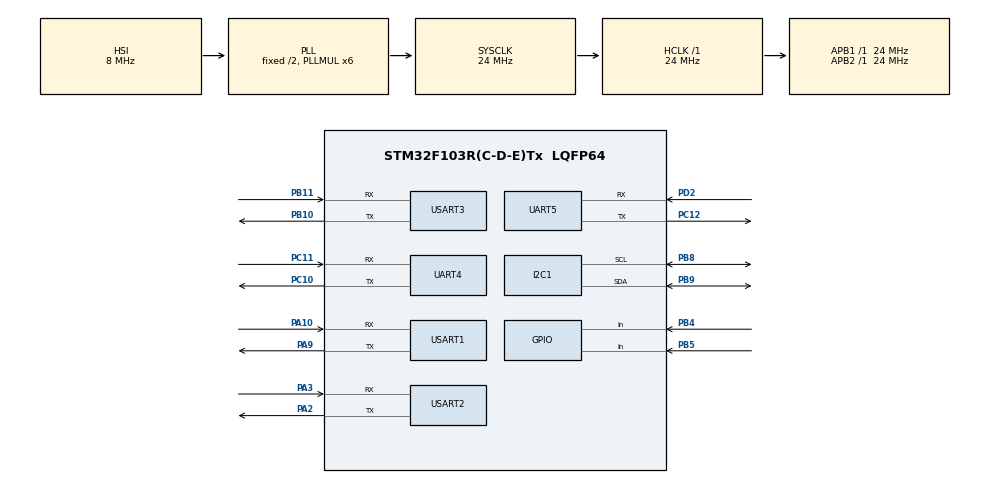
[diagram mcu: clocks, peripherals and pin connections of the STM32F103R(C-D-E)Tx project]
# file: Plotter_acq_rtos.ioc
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Mcu.Family=STM32F1
Dma.USART3_RX.6.Instance=DMA1_Channel3
NVIC.USART3_IRQn=true\:5\:0\:false\:false\:true\:true\:true\:true
Dma.UART4_TX.5.Instance=DMA2_Channel5
NVIC.DMA1_Channel5_IRQn=true\:5\:0\:false\:false\:true\:true\:false\:true
NVIC.I2C1_EV_IRQn=true\:5\:0\:false\:false\:true\:true\:true\:true
Dma.USART2_TX.0.PeriphDataAlignment=DMA_PDATAALIGN_BYTE
PB10.Mode=Asynchronous
Dma.USART1_TX.3.MemInc=DMA_MINC_ENABLE
Dma.USART1_TX.3.MemDataAlignment=DMA_MDATAALIGN_BYTE
Dma.UART4_TX.5.MemDataAlignment=DMA_MDATAALIGN_BYTE
Dma.USART3_TX.7.MemInc=DMA_MINC_ENABLE
PC12.Signal=UART5_TX
PC10.Signal=UART4_TX
Dma.USART1_RX.2.Instance=DMA1_Channel5
Dma.USART1_TX.3.Direction=DMA_MEMORY_TO_PERIPH
Dma.UART4_TX.5.PeriphInc=DMA_PINC_DISABLE
NVIC.TIM1_UP_IRQn=true\:0\:0\:false\:false\:true\:false\:false\:true
Dma.USART3_TX.7.Direction=DMA_MEMORY_TO_PERIPH
PB11.Signal=USART3_RX
Dma.USART2_RX.1.MemDataAlignment=DMA_MDATAALIGN_BYTE
RCC.SYSCLKSource=RCC_SYSCLKSOURCE_PLLCLK
ProjectManager.StackSize=0x400
VP_FREERTOS_VS_CMSIS_V2.Mode=CMSIS_V2
NVIC.UART5_IRQn=true\:5\:0\:false\:false\:true\:true\:true\:true
NVIC.DMA1_Channel3_IRQn=true\:5\:0\:false\:false\:true\:true\:false\:true
Dma.USART3_TX.7.MemDataAlignment=DMA_MDATAALIGN_BYTE
Dma.USART2_TX.0.Priority=DMA_PRIORITY_LOW
Mcu.UserConstants=GPSUART,1
FREERTOS.configUSE_STATS_FORMATTING_FUNCTIONS=1
RCC.HCLKFreq_Value=24000000
RCC.APB2TimFreq_Value=24000000
Dma.USART1_TX.3.Mode=DMA_NORMAL
Dma.USART2_RX.1.PeriphInc=DMA_PINC_DISABLE
Dma.UART4_TX.5.Priority=DMA_PRIORITY_LOW
Dma.USART2_RX.1.MemInc=DMA_MINC_ENABLE
RCC.AHBFreq_Value=24000000
RCC.PLLMUL=RCC_PLL_MUL6
Dma.UART4_TX.5.Direction=DMA_MEMORY_TO_PERIPH
Dma.USART3_RX.6.Direction=DMA_PERIPH_TO_MEMORY
PA14.Mode=Serial_Wire
Dma.USART3_TX.7.PeriphInc=DMA_PINC_DISABLE
VP_SYS_VS_tim1.Mode=TIM1
Dma.USART1_TX.3.PeriphInc=DMA_PINC_DISABLE
Dma.USART2_TX.0.MemDataAlignment=DMA_MDATAALIGN_BYTE
NVIC.DMA2_Channel3_IRQn=true\:5\:0\:false\:false\:true\:true\:false\:true
Dma.USART2_TX.0.Direction=DMA_MEMORY_TO_PERIPH
NVIC.I2C1_ER_IRQn=true\:5\:0\:false\:false\:true\:true\:true\:true
Dma.USART2_TX.0.Instance=DMA1_Channel7
FREERTOS.configTOTAL_HEAP_SIZE=18432
Dma.USART1_TX.3.Instance=DMA1_Channel4
Mcu.Package=LQFP64
PB9.Signal=I2C1_SDA
NVIC.TimeBase=TIM1_UP_IRQn
Dma.UART4_RX.4.PeriphInc=DMA_PINC_DISABLE
USART2.VirtualMode=VM_ASYNC
NVIC.TimeBaseIP=TIM1
PA10.Signal=USART1_RX
Dma.USART3_TX.7.Instance=DMA1_Channel2
PC11.Mode=Asynchronous
Dma.UART4_RX.4.Mode=DMA_CIRCULAR
Dma.USART2_TX.0.Mode=DMA_NORMAL
Dma.UART4_TX.5.PeriphDataAlignment=DMA_PDATAALIGN_BYTE
Dma.Request2=USART1_RX
Dma.Request1=USART2_RX
RCC.APB1TimFreq_Value=24000000
Dma.Request4=UART4_RX
FREERTOS.configGENERATE_RUN_TIME_STATS=1
Dma.Request3=USART1_TX
Dma.Request6=USART3_RX
Dma.Request5=UART4_TX
Dma.Request7=USART3_TX
NVIC.DMA2_Channel4_5_IRQn=true\:5\:0\:false\:false\:true\:true\:false\:true
NVIC.DMA1_Channel4_IRQn=true\:5\:0\:false\:false\:true\:true\:false\:true
Dma.USART2_RX.1.Mode=DMA_CIRCULAR
Dma.Request0=USART2_TX
Dma.USART1_RX.2.MemDataAlignment=DMA_MDATAALIGN_BYTE
PB4.Signal=GPIO_Input
PA3.Signal=USART2_RX
Dma.UART4_RX.4.PeriphDataAlignment=DMA_PDATAALIGN_BYTE
NVIC.DMA1_Channel6_IRQn=true\:5\:0\:false\:false\:true\:true\:false\:true
Dma.USART3_TX.7.Mode=DMA_NORMAL
Dma.USART2_RX.1.Priority=DMA_PRIORITY_VERY_HIGH
FREERTOS.Tasks01=defaultTask,24,256,StartDefaultTask,Default,NULL,Dynamic,NULL,NULL
Dma.USART2_TX.0.MemInc=DMA_MINC_ENABLE
PA10.Mode=Asynchronous
Dma.USART3_RX.6.MemDataAlignment=DMA_MDATAALIGN_BYTE
PC11.Signal=UART4_RX
PC10.Mode=Asynchronous
UART5.VirtualMode=Asynchronous
UART4.VirtualMode=Asynchronous
Dma.USART3_RX.6.PeriphInc=DMA_PINC_DISABLE
Dma.USART1_RX.2.PeriphInc=DMA_PINC_DISABLE
Dma.UART4_RX.4.MemInc=DMA_MINC_ENABLE
NVIC.USART2_IRQn=true\:5\:0\:false\:false\:true\:true\:true\:true
Dma.USART3_RX.6.MemInc=DMA_MINC_ENABLE
PA13.Signal=SYS_JTMS-SWDIO
PA3.Mode=Asynchronous
PA9.Mode=Asynchronous
PB11.Mode=Asynchronous
FREERTOS.configRECORD_STACK_HIGH_ADDRESS=1
NVIC.DMA1_Channel2_IRQn=true\:5\:0\:false\:false\:true\:true\:false\:true
ProjectManager.TargetToolchain=SW4STM32
Dma.UART4_RX.4.Instance=DMA2_Channel3
I2C1.I2C_Mode=I2C_Fast
Dma.USART1_RX.2.Mode=DMA_CIRCULAR
Dma.USART1_RX.2.PeriphDataAlignment=DMA_PDATAALIGN_BYTE
PB9.Mode=I2C
PA9.Signal=USART1_TX
Dma.USART1_TX.3.PeriphDataAlignment=DMA_PDATAALIGN_BYTE
RCC.USBFreq_Value=24000000
Dma.USART2_RX.1.Instance=DMA1_Channel6
PB10.Signal=USART3_TX
PD2.Mode=Asynchronous
Dma.USART2_RX.1.Direction=DMA_PERIPH_TO_MEMORY
Dma.USART2_RX.1.PeriphDataAlignment=DMA_PDATAALIGN_BYTE
PC12.Mode=Asynchronous
board=custom
Dma.USART1_RX.2.Priority=DMA_PRIORITY_VERY_HIGH
RCC.APB2Freq_Value=24000000
Dma.USART1_RX.2.Direction=DMA_PERIPH_TO_MEMORY
Dma.USART3_TX.7.PeriphDataAlignment=DMA_PDATAALIGN_BYTE
Dma.USART3_TX.7.Priority=DMA_PRIORITY_LOW
Dma.USART3_RX.6.Priority=DMA_PRIORITY_VERY_HIGH
Dma.USART3_RX.6.Mode=DMA_CIRCULAR
PA13.Mode=Serial_Wire
Mcu.Name=STM32F103R(C-D-E)Tx
Dma.USART1_RX.2.MemInc=DMA_MINC_ENABLE
Dma.UART4_TX.5.MemInc=DMA_MINC_ENABLE
PA2.Signal=USART2_TX
Dma.USART1_TX.3.Priority=DMA_PRIORITY_LOW
RCC.SYSCLKFreq_VALUE=24000000
PB5.Signal=GPIO_Input
Dma.USART2_TX.0.PeriphInc=DMA_PINC_DISABLE
USART3.VirtualMode=VM_ASYNC
Dma.UART4_RX.4.MemDataAlignment=DMA_MDATAALIGN_BYTE
USART1.VirtualMode=VM_ASYNC
PA14.Signal=SYS_JTCK-SWCLK
ProjectManager.HeapSize=0x200
Dma.UART4_RX.4.Priority=DMA_PRIORITY_VERY_HIGH
NVIC.PriorityGroup=NVIC_PRIORITYGROUP_4
PB8.Mode=I2C
Dma.UART4_RX.4.Direction=DMA_PERIPH_TO_MEMORY
PB8.Signal=I2C1_SCL
PA2.Mode=Asynchronous
NVIC.DMA1_Channel7_IRQn=true\:5\:0\:false\:false\:true\:true\:false\:true
PD2.Signal=UART5_RX
RCC.APB1Freq_Value=24000000
Dma.USART3_RX.6.PeriphDataAlignment=DMA_PDATAALIGN_BYTE
Dma.UART4_TX.5.Mode=DMA_NORMAL

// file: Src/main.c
/* USER CODE BEGIN Header */
/**
 ******************************************************************************
 * @file           : main.c
 * @brief          : Main program body
 ******************************************************************************
 * @attention
 *
 * <h2><center>&copy; Copyright (c) 2020 STMicroelectronics.
 * All rights reserved.</center></h2>
 *
 * This software component is licensed by ST under Ultimate Liberty license
 * SLA0044, the "License"; You may not use this file except in compliance with
 * the License. You may obtain a copy of the License at:
 *                             www.st.com/SLA0044
 *
 ******************************************************************************
 */
/* USER CODE END Header */

#include "main.h"
#include "cmsis_os.h"

/* USER CODE BEGIN Includes */
#include "stdio.h"

#include "Constants.h"
#include "allTasks.h"
#include "shared.h"
/* USER CODE END Includes */

I2C_HandleTypeDef hi2c1;

UART_HandleTypeDef huart4;
UART_HandleTypeDef huart5;
UART_HandleTypeDef huart1;
UART_HandleTypeDef huart2;
UART_HandleTypeDef huart3;
DMA_HandleTypeDef hdma_uart4_rx;
DMA_HandleTypeDef hdma_uart4_tx;
DMA_HandleTypeDef hdma_usart1_rx;
DMA_HandleTypeDef hdma_usart1_tx;
DMA_HandleTypeDef hdma_usart2_tx;
DMA_HandleTypeDef hdma_usart2_rx;
DMA_HandleTypeDef hdma_usart3_rx;
DMA_HandleTypeDef hdma_usart3_tx;

/* Definitions for defaultTask */
osThreadId_t defaultTaskHandle;
const osThreadAttr_t defaultTask_attributes = {
  .name = "defaultTask",
  .priority = (osPriority_t) osPriorityNormal,
  .stack_size = 256 * 4
};
/* USER CODE BEGIN PV */

osThreadId_t otherTaskHandle;
osMessageQueueId_t mainNmeaQueueHandle;
osMessageQueueId_t vhfNmeaQueueHandle;
osMessageQueueId_t pilotNmeaQueueHandle;
const osMessageQueueAttr_t mainNmeaQueue_attributes = {
		.name = "mainNmeaQueue"
};
const osMessageQueueAttr_t vhfNmeaQueue_attributes = {
		.name = "vhfNmeaQueue"
};
const osMessageQueueAttr_t pilotNmeaQueue_attributes = {
		.name = "pilotNmeaQueue"
};

//classic attribute for uartParser

/* USER CODE END PV */

void SystemClock_Config(void);
static void MX_GPIO_Init(void);
static void MX_DMA_Init(void);
static void MX_I2C1_Init(void);
static void MX_UART4_Init(void);
static void MX_UART5_Init(void);
static void MX_USART1_UART_Init(void);
static void MX_USART2_UART_Init(void);
static void MX_USART3_UART_Init(void);
void StartDefaultTask(void *argument);

/* USER CODE BEGIN 0 */
int __io_putchar(int ch)
{
	HAL_UART_Transmit(&huart5, (uint8_t *)&ch, 1, 0xFFFF);
	return ch;
}

/* USER CODE END 0 */

int main(void)
{

  /* MCU Configuration--------------------------------------------------------*/

  /* Reset of all peripherals, Initializes the Flash interface and the Systick. */
  HAL_Init();

  /* Configure the system clock */
  SystemClock_Config();

  /* Initialize all configured peripherals */
  MX_GPIO_Init();
  MX_DMA_Init();
  MX_I2C1_Init();
  MX_UART4_Init();
  MX_UART5_Init();
  MX_USART1_UART_Init();
  MX_USART2_UART_Init();
  MX_USART3_UART_Init();
  /* USER CODE BEGIN 2 */

	printf("Initializing freeRtos and freeRtos's objects...\r\n");

  /* USER CODE END 2 */

  /* Init scheduler */
  osKernelInitialize();

  /* USER CODE BEGIN RTOS_QUEUES */

	/* creation of mainNmeaQueue */
	mainNmeaQueueHandle = osMessageQueueNew (16, sizeof(NMEA_PAQUET), &mainNmeaQueue_attributes);
	vhfNmeaQueueHandle = osMessageQueueNew (8, sizeof(NMEA_PAQUET), &vhfNmeaQueue_attributes);
	pilotNmeaQueueHandle = osMessageQueueNew (8, sizeof(NMEA_PAQUET), &pilotNmeaQueue_attributes);

  /* USER CODE END RTOS_QUEUES */

  /* Create the thread(s) */
  /* creation of defaultTask */
  defaultTaskHandle = osThreadNew(StartDefaultTask, NULL, &defaultTask_attributes);

  /* USER CODE BEGIN RTOS_THREADS */
	/* add threads, ... */

	initVHFTask();
	initGPSTask();
	initWITask();
	initPilotTask();

  /* USER CODE END RTOS_THREADS */

  /* Start scheduler */
  osKernelStart();

  /* We should never get here as control is now taken by the scheduler */
  /* Infinite loop */
	while (1)
	{

	}
}

void SystemClock_Config(void)
{
  RCC_OscInitTypeDef RCC_OscInitStruct = {0};
  RCC_ClkInitTypeDef RCC_ClkInitStruct = {0};

  /** Initializes the CPU, AHB and APB busses clocks
  */
  RCC_OscInitStruct.OscillatorType = RCC_OSCILLATORTYPE_HSI;
  RCC_OscInitStruct.HSIState = RCC_HSI_ON;
  RCC_OscInitStruct.HSICalibrationValue = RCC_HSICALIBRATION_DEFAULT;
  RCC_OscInitStruct.PLL.PLLState = RCC_PLL_ON;
  RCC_OscInitStruct.PLL.PLLSource = RCC_PLLSOURCE_HSI_DIV2;
  RCC_OscInitStruct.PLL.PLLMUL = RCC_PLL_MUL6;
  if (HAL_RCC_OscConfig(&RCC_OscInitStruct) != HAL_OK)
  {
    Error_Handler();
  }
  /** Initializes the CPU, AHB and APB busses clocks
  */
  RCC_ClkInitStruct.ClockType = RCC_CLOCKTYPE_HCLK|RCC_CLOCKTYPE_SYSCLK
                              |RCC_CLOCKTYPE_PCLK1|RCC_CLOCKTYPE_PCLK2;
  RCC_ClkInitStruct.SYSCLKSource = RCC_SYSCLKSOURCE_PLLCLK;
  RCC_ClkInitStruct.AHBCLKDivider = RCC_SYSCLK_DIV1;
  RCC_ClkInitStruct.APB1CLKDivider = RCC_HCLK_DIV1;
  RCC_ClkInitStruct.APB2CLKDivider = RCC_HCLK_DIV1;

  if (HAL_RCC_ClockConfig(&RCC_ClkInitStruct, FLASH_LATENCY_0) != HAL_OK)
  {
    Error_Handler();
  }
}

static void MX_I2C1_Init(void)
{

  hi2c1.Instance = I2C1;
  hi2c1.Init.ClockSpeed = 100000;
  hi2c1.Init.DutyCycle = I2C_DUTYCYCLE_2;
  hi2c1.Init.OwnAddress1 = 0;
  hi2c1.Init.AddressingMode = I2C_ADDRESSINGMODE_7BIT;
  hi2c1.Init.DualAddressMode = I2C_DUALADDRESS_DISABLE;
  hi2c1.Init.OwnAddress2 = 0;
  hi2c1.Init.GeneralCallMode = I2C_GENERALCALL_DISABLE;
  hi2c1.Init.NoStretchMode = I2C_NOSTRETCH_DISABLE;
  if (HAL_I2C_Init(&hi2c1) != HAL_OK)
  {
    Error_Handler();
  }

}

static void MX_UART4_Init(void)
{

  huart4.Instance = UART4;
  huart4.Init.BaudRate = 115200;
  huart4.Init.WordLength = UART_WORDLENGTH_8B;
  huart4.Init.StopBits = UART_STOPBITS_1;
  huart4.Init.Parity = UART_PARITY_NONE;
  huart4.Init.Mode = UART_MODE_TX_RX;
  huart4.Init.HwFlowCtl = UART_HWCONTROL_NONE;
  huart4.Init.OverSampling = UART_OVERSAMPLING_16;
  if (HAL_UART_Init(&huart4) != HAL_OK)
  {
    Error_Handler();
  }

}

static void MX_UART5_Init(void)
{

  huart5.Instance = UART5;
  huart5.Init.BaudRate = 115200;
  huart5.Init.WordLength = UART_WORDLENGTH_8B;
  huart5.Init.StopBits = UART_STOPBITS_1;
  huart5.Init.Parity = UART_PARITY_NONE;
  huart5.Init.Mode = UART_MODE_TX_RX;
  huart5.Init.HwFlowCtl = UART_HWCONTROL_NONE;
  huart5.Init.OverSampling = UART_OVERSAMPLING_16;
  if (HAL_UART_Init(&huart5) != HAL_OK)
  {
    Error_Handler();
  }

}

static void MX_USART1_UART_Init(void)
{

  huart1.Instance = USART1;
  huart1.Init.BaudRate = 38400;
  huart1.Init.WordLength = UART_WORDLENGTH_8B;
  huart1.Init.StopBits = UART_STOPBITS_1;
  huart1.Init.Parity = UART_PARITY_NONE;
  huart1.Init.Mode = UART_MODE_TX_RX;
  huart1.Init.HwFlowCtl = UART_HWCONTROL_NONE;
  huart1.Init.OverSampling = UART_OVERSAMPLING_16;
  if (HAL_UART_Init(&huart1) != HAL_OK)
  {
    Error_Handler();
  }

}

static void MX_USART2_UART_Init(void)
{

  huart2.Instance = USART2;
  huart2.Init.BaudRate = 38400;
  huart2.Init.WordLength = UART_WORDLENGTH_8B;
  huart2.Init.StopBits = UART_STOPBITS_1;
  huart2.Init.Parity = UART_PARITY_NONE;
  huart2.Init.Mode = UART_MODE_TX_RX;
  huart2.Init.HwFlowCtl = UART_HWCONTROL_NONE;
  huart2.Init.OverSampling = UART_OVERSAMPLING_16;
  if (HAL_UART_Init(&huart2) != HAL_OK)
  {
    Error_Handler();
  }

}

static void MX_USART3_UART_Init(void)
{

  huart3.Instance = USART3;
  huart3.Init.BaudRate = 115200;
  huart3.Init.WordLength = UART_WORDLENGTH_8B;
  huart3.Init.StopBits = UART_STOPBITS_1;
  huart3.Init.Parity = UART_PARITY_NONE;
  huart3.Init.Mode = UART_MODE_TX_RX;
  huart3.Init.HwFlowCtl = UART_HWCONTROL_NONE;
  huart3.Init.OverSampling = UART_OVERSAMPLING_16;
  if (HAL_UART_Init(&huart3) != HAL_OK)
  {
    Error_Handler();
  }

}

static void MX_DMA_Init(void)
{

  /* DMA controller clock enable */
  __HAL_RCC_DMA1_CLK_ENABLE();
  __HAL_RCC_DMA2_CLK_ENABLE();

  /* DMA interrupt init */
  /* DMA1_Channel2_IRQn interrupt configuration */
  HAL_NVIC_SetPriority(DMA1_Channel2_IRQn, 5, 0);
  HAL_NVIC_EnableIRQ(DMA1_Channel2_IRQn);
  /* DMA1_Channel3_IRQn interrupt configuration */
  HAL_NVIC_SetPriority(DMA1_Channel3_IRQn, 5, 0);
  HAL_NVIC_EnableIRQ(DMA1_Channel3_IRQn);
  /* DMA1_Channel4_IRQn interrupt configuration */
  HAL_NVIC_SetPriority(DMA1_Channel4_IRQn, 5, 0);
  HAL_NVIC_EnableIRQ(DMA1_Channel4_IRQn);
  /* DMA1_Channel5_IRQn interrupt configuration */
  HAL_NVIC_SetPriority(DMA1_Channel5_IRQn, 5, 0);
  HAL_NVIC_EnableIRQ(DMA1_Channel5_IRQn);
  /* DMA1_Channel6_IRQn interrupt configuration */
  HAL_NVIC_SetPriority(DMA1_Channel6_IRQn, 5, 0);
  HAL_NVIC_EnableIRQ(DMA1_Channel6_IRQn);
  /* DMA1_Channel7_IRQn interrupt configuration */
  HAL_NVIC_SetPriority(DMA1_Channel7_IRQn, 5, 0);
  HAL_NVIC_EnableIRQ(DMA1_Channel7_IRQn);
  /* DMA2_Channel3_IRQn interrupt configuration */
  HAL_NVIC_SetPriority(DMA2_Channel3_IRQn, 5, 0);
  HAL_NVIC_EnableIRQ(DMA2_Channel3_IRQn);
  /* DMA2_Channel4_5_IRQn interrupt configuration */
  HAL_NVIC_SetPriority(DMA2_Channel4_5_IRQn, 5, 0);
  HAL_NVIC_EnableIRQ(DMA2_Channel4_5_IRQn);

}

static void MX_GPIO_Init(void)
{
  GPIO_InitTypeDef GPIO_InitStruct = {0};

  /* GPIO Ports Clock Enable */
  __HAL_RCC_GPIOC_CLK_ENABLE();
  __HAL_RCC_GPIOD_CLK_ENABLE();
  __HAL_RCC_GPIOA_CLK_ENABLE();
  __HAL_RCC_GPIOB_CLK_ENABLE();

  /*Configure GPIO pins : PC13 PC14 PC15 PC0
                           PC1 PC2 PC3 PC4
                           PC5 PC6 PC7 PC8
                           PC9 */
  GPIO_InitStruct.Pin = GPIO_PIN_13|GPIO_PIN_14|GPIO_PIN_15|GPIO_PIN_0
                          |GPIO_PIN_1|GPIO_PIN_2|GPIO_PIN_3|GPIO_PIN_4
                          |GPIO_PIN_5|GPIO_PIN_6|GPIO_PIN_7|GPIO_PIN_8
                          |GPIO_PIN_9;
  GPIO_InitStruct.Mode = GPIO_MODE_ANALOG;
  HAL_GPIO_Init(GPIOC, &GPIO_InitStruct);

  /*Configure GPIO pins : PD0 PD1 */
  GPIO_InitStruct.Pin = GPIO_PIN_0|GPIO_PIN_1;
  GPIO_InitStruct.Mode = GPIO_MODE_ANALOG;
  HAL_GPIO_Init(GPIOD, &GPIO_InitStruct);

  /*Configure GPIO pins : PA0 PA1 PA4 PA5
                           PA6 PA7 PA8 PA11
                           PA12 PA15 */
  GPIO_InitStruct.Pin = GPIO_PIN_0|GPIO_PIN_1|GPIO_PIN_4|GPIO_PIN_5
                          |GPIO_PIN_6|GPIO_PIN_7|GPIO_PIN_8|GPIO_PIN_11
                          |GPIO_PIN_12|GPIO_PIN_15;
  GPIO_InitStruct.Mode = GPIO_MODE_ANALOG;
  HAL_GPIO_Init(GPIOA, &GPIO_InitStruct);

  /*Configure GPIO pins : PB0 PB1 PB2 PB12
                           PB13 PB14 PB15 PB3
                           PB8 PB9 */
  GPIO_InitStruct.Pin = GPIO_PIN_0|GPIO_PIN_1|GPIO_PIN_2|GPIO_PIN_12
                          |GPIO_PIN_13|GPIO_PIN_14|GPIO_PIN_15|GPIO_PIN_3
                          |GPIO_PIN_8|GPIO_PIN_9;
  GPIO_InitStruct.Mode = GPIO_MODE_ANALOG;
  HAL_GPIO_Init(GPIOB, &GPIO_InitStruct);

  /*Configure GPIO pins : PB4 PB5 */
  GPIO_InitStruct.Pin = GPIO_PIN_4|GPIO_PIN_5;
  GPIO_InitStruct.Mode = GPIO_MODE_INPUT;
  GPIO_InitStruct.Pull = GPIO_NOPULL;
  HAL_GPIO_Init(GPIOB, &GPIO_InitStruct);

  /*Configure peripheral I/O remapping */
  __HAL_AFIO_REMAP_PD01_ENABLE();

}

/* USER CODE BEGIN 4 */
void HAL_UART_RxCpltCallback(UART_HandleTypeDef *huart){
	//HAL_UART_Receive_IT(huart,rx_buff,10);
	__NOP();
}
/* USER CODE END 4 */

void StartDefaultTask(void *argument)
{
  /* USER CODE BEGIN 5 */
	printf("Kernel initialized.\r\n");
	NMEA_PAQUET paquet;

	/* Infinite loop */
	for(;;)
	{
		if(osMessageQueueGet(mainNmeaQueueHandle,&paquet,NULL,2)==osOK){
			printf("%s",paquet.msg);

		}

		osDelay(20);
	}

  /* USER CODE END 5 */
}

 /**
  * @brief  Period elapsed callback in non blocking mode
  * @note   This function is called  when TIM1 interrupt took place, inside
  * HAL_TIM_IRQHandler(). It makes a direct call to HAL_IncTick() to increment
  * a global variable "uwTick" used as application time base.
  * @param  htim : TIM handle
  * @retval None
  */
void HAL_TIM_PeriodElapsedCallback(TIM_HandleTypeDef *htim)
{
  if (htim->Instance == TIM1) {
    HAL_IncTick();
  }
}

void Error_Handler(void)
{
}

/************************ (C) COPYRIGHT STMicroelectronics *****END OF FILE****/
